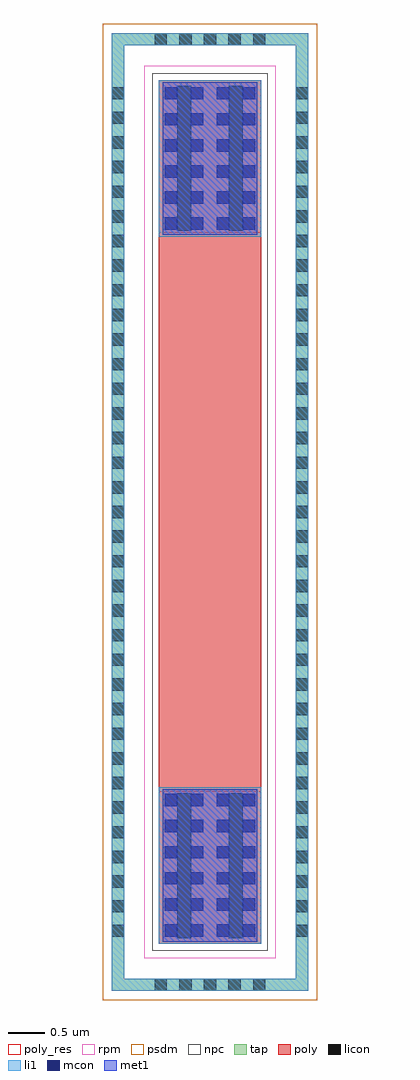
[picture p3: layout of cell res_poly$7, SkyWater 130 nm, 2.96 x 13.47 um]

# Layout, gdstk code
import gdstk
lib = gdstk.Library(unit=1e-6, precision=5e-09)
def R(c, l, rs):  # rectangles x0, y0, x1, y1
    for r in rs: c.add(gdstk.rectangle(r[:2], r[2:], *l))
def A(c, l, x, y, w, h, nx, ny, dx, dy):  # array of equal rectangles
    R(c, l, [(x+i*dx, y+j*dy, x+i*dx+w, y+j*dy+h) for i in range(nx) for j in range(ny)])
tap = (65, 44)
poly_res = (66, 13)
poly = (66, 20)
licon = (66, 44)
li1 = (67, 20)
mcon = (67, 44)
met1 = (68, 20)
rpm = (86, 20)
psdm = (94, 20)
npc = (95, 20)

res_poly_7 = lib.new_cell('res_poly$7')
R(res_poly_7, tap, [(-1.355,-6.61,1.355,-6.44), (-1.355,-6.44,-1.185,6.44), (1.185,-6.44,1.355,6.44), (-1.355,6.44,1.355,6.61)])
R(res_poly_7, poly_res, [(-0.705,-3.86,0.705,3.86)])
R(res_poly_7, poly, [(-0.705,-5.96,0.705,5.96)])
A(res_poly_7, licon, -0.765, -6.61, 0.17, 0.17, 5, 2, 0.34, 13.05)
A(res_poly_7, licon, -1.355, -5.865, 0.17, 0.17, 1, 35, 0, 0.34)
A(res_poly_7, licon, 1.185, -5.865, 0.17, 0.17, 1, 35, 0, 0.34)
R(res_poly_7, licon, [(-0.45,-5.88,-0.26,-3.88), (0.26,-5.88,0.45,-3.88), (-0.45,3.88,-0.26,5.88), (0.26,3.88,0.45,5.88)])
R(res_poly_7, li1, [(-1.355,-6.61,1.355,-6.44), (-1.355,-6.44,-1.185,6.44), (1.185,-6.44,1.355,6.44), (-0.705,-5.96,0.705,-3.8), (-0.705,3.8,0.705,5.96), (-1.355,6.44,1.355,6.61)])
A(res_poly_7, mcon, -0.625, -5.86, 0.17, 0.17, 4, 6, 0.36, 0.36)
A(res_poly_7, mcon, -0.625, 3.895, 0.17, 0.17, 4, 6, 0.36, 0.36)
R(res_poly_7, met1, [(-0.655,-5.93,0.655,-3.825), (-0.655,3.825,0.655,5.93)])
R(res_poly_7, rpm, [(-0.905,-6.16,0.905,6.16)])
R(res_poly_7, psdm, [(-1.48,-6.735,1.48,6.735)])
R(res_poly_7, npc, [(-0.8,-6.055,0.8,6.055)])

lib.write_gds('res_poly_7.gds')
